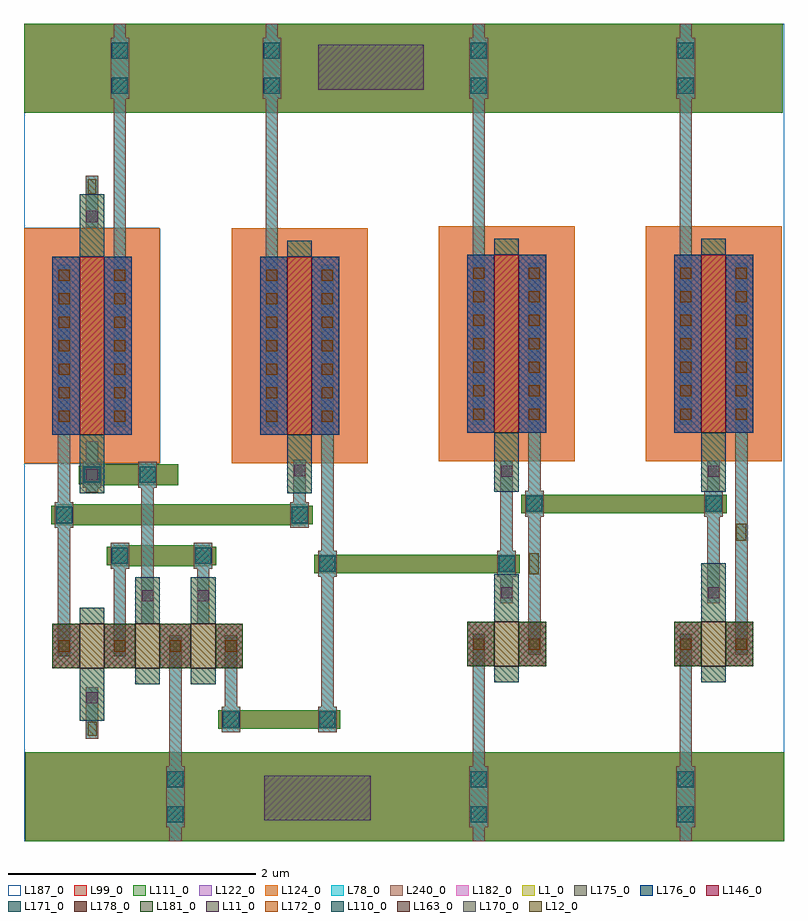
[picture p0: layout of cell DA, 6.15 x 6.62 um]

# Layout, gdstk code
import gdstk
lib = gdstk.Library(unit=1e-6, precision=1e-09)
def R(c, l, rs):  # rectangles x0, y0, x1, y1
    for r in rs: c.add(gdstk.rectangle(r[:2], r[2:], *l))
def A(c, l, x, y, w, h, nx, ny, dx, dy):  # array of equal rectangles
    R(c, l, [(x+i*dx, y+j*dy, x+i*dx+w, y+j*dy+h) for i in range(nx) for j in range(ny)])
def P(c, l, *ps):  # polygons
    for p in ps: c.add(gdstk.Polygon(p, *l))
L1_0 = (1, 0)
L11_0 = (11, 0)
L12_0 = (12, 0)
L78_0 = (78, 0)
L99_0 = (99, 0)
L110_0 = (110, 0)
L111_0 = (111, 0)
L122_0 = (122, 0)
L124_0 = (124, 0)
L146_0 = (146, 0)
L163_0 = (163, 0)
L170_0 = (170, 0)
L171_0 = (171, 0)
L172_0 = (172, 0)
L175_0 = (175, 0)
L176_0 = (176, 0)
L178_0 = (178, 0)
L181_0 = (181, 0)
L182_0 = (182, 0)
L187_0 = (187, 0)
L240_0 = (240, 0)

c_da = lib.new_cell('DA')
R(c_da, L1_0, [(1.905,-3.805,2.105,-2.89), (2.355,-3.51,2.555,-2.645), (2.805,-3.51,3.005,-2.645), (5.26,-3.495,5.46,-2.62), (6.935,-3.495,7.135,-2.53), (1.905,-1.965,2.105,0.455), (3.585,-1.965,3.785,0.08), (5.26,-1.95,5.46,0.095), (6.935,-1.95,7.135,0.095)])
R(c_da, L11_0, [(3.4,-4.61,4.26,-4.25), (3.835,1.3,4.69,1.665)])
R(c_da, L12_0, [(1.97,-3.925,2.045,-3.815), (5.545,-2.62,5.62,-2.45), (7.22,-2.35,7.3,-2.21), (1.97,0.46,2.04,0.575)])
R(c_da, L78_0, [(1.955,-3.95,2.055,-3.535), (7.21,-3.27,7.31,-0.1), (1.955,0.19,2.055,0.605)])
P(c_da, L78_0, [(2.98,-2.365),(2.98,-2.575),(2.955,-2.575),(2.955,-3.02),(2.855,-3.02),(2.855,-2.575),(2.83,-2.575),(2.83,-2.365)],
  [(2.305,-2.365),(2.305,-2.575),(2.28,-2.575),(2.28,-3.285),(2.18,-3.285),(2.18,-2.575),(2.155,-2.575),(2.155,-2.365)],
  [(3.18,-3.115),(3.18,-3.69),(3.205,-3.69),(3.205,-3.9),(3.055,-3.9),(3.055,-3.69),(3.08,-3.69),(3.08,-3.115)],
  [(1.83,-0.115),(1.83,-2.035),(1.855,-2.035),(1.855,-2.245),(1.83,-2.245),(1.83,-3.285),(1.73,-3.285),(1.73,-2.245),(1.705,-2.245),(1.705,-2.035),(1.73,-2.035),(1.73,-0.115)],
  [(2.73,-3.115),(2.73,-4.175),(2.755,-4.175),(2.755,-4.665),(2.73,-4.665),(2.73,-4.78),(2.63,-4.78),(2.63,-4.665),(2.605,-4.665),(2.605,-4.175),(2.63,-4.175),(2.63,-3.115)],
  [(2.28,1.835),(2.28,1.72),(2.305,1.72),(2.305,1.23),(2.28,1.23),(2.28,-1.425),(2.18,-1.425),(2.18,1.23),(2.155,1.23),(2.155,1.72),(2.18,1.72),(2.18,1.835)],
  [(2.53,-1.71),(2.53,-1.92),(2.505,-1.92),(2.505,-3.02),(2.405,-3.02),(2.405,-1.92),(2.38,-1.92),(2.38,-1.71)],
  [(2.055,-1.545),(2.055,-1.71),(2.08,-1.71),(2.08,-1.92),(2.055,-1.92),(2.055,-1.955),(1.955,-1.955),(1.955,-1.92),(1.93,-1.92),(1.93,-1.71),(1.955,-1.71),(1.955,-1.545)],
  [(3.96,-0.115),(3.96,-2.43),(3.985,-2.43),(3.985,-2.64),(3.96,-2.64),(3.96,-3.69),(3.985,-3.69),(3.985,-3.9),(3.835,-3.9),(3.835,-3.69),(3.86,-3.69),(3.86,-2.64),(3.835,-2.64),(3.835,-2.43),(3.86,-2.43),(3.86,-0.115)],
  [(3.735,-1.695),(3.735,-2.035),(3.76,-2.035),(3.76,-2.245),(3.61,-2.245),(3.61,-2.035),(3.635,-2.035),(3.635,-1.695)],
  [(5.185,-3.1),(5.185,-4.175),(5.21,-4.175),(5.21,-4.665),(5.185,-4.665),(5.185,-4.78),(5.085,-4.78),(5.085,-4.665),(5.06,-4.665),(5.06,-4.175),(5.085,-4.175),(5.085,-3.1)],
  [(3.51,1.835),(3.51,1.72),(3.535,1.72),(3.535,1.23),(3.51,1.23),(3.51,-1.425),(3.41,-1.425),(3.41,1.23),(3.385,1.23),(3.385,1.72),(3.41,1.72),(3.41,1.835)],
  [(5.185,1.835),(5.185,1.72),(5.21,1.72),(5.21,1.23),(5.185,1.23),(5.185,-1.41),(5.085,-1.41),(5.085,1.23),(5.06,1.23),(5.06,1.72),(5.085,1.72),(5.085,1.835)],
  [(5.41,-1.7),(5.41,-2.43),(5.435,-2.43),(5.435,-2.64),(5.41,-2.64),(5.41,-2.855),(5.31,-2.855),(5.31,-2.64),(5.285,-2.64),(5.285,-2.43),(5.31,-2.43),(5.31,-1.7)],
  [(7.085,-1.7),(7.085,-1.945),(7.11,-1.945),(7.11,-2.155),(7.085,-2.155),(7.085,-2.855),(6.985,-2.855),(6.985,-2.155),(6.96,-2.155),(6.96,-1.945),(6.985,-1.945),(6.985,-1.7)],
  [(5.635,-0.1),(5.635,-1.945),(5.66,-1.945),(5.66,-2.155),(5.635,-2.155),(5.635,-3.27),(5.535,-3.27),(5.535,-2.155),(5.51,-2.155),(5.51,-1.945),(5.535,-1.945),(5.535,-0.1)],
  [(6.86,-3.1),(6.86,-4.175),(6.885,-4.175),(6.885,-4.665),(6.86,-4.665),(6.86,-4.78),(6.76,-4.78),(6.76,-4.665),(6.735,-4.665),(6.735,-4.175),(6.76,-4.175),(6.76,-3.1)],
  [(6.86,1.835),(6.86,1.72),(6.885,1.72),(6.885,1.23),(6.86,1.23),(6.86,-1.41),(6.76,-1.41),(6.76,1.23),(6.735,1.23),(6.735,1.72),(6.76,1.72),(6.76,1.835)])
R(c_da, L99_0, [(1.465,-4.78,7.605,-4.06), (3.025,-3.87,4.015,-3.72), (3.805,-2.61,5.465,-2.46), (5.48,-2.125,7.14,-1.975), (1.455,1.115,7.595,1.835)])
P(c_da, L99_0, [(3.735,-2.055),(3.735,-2.065),(3.79,-2.065),(3.79,-2.215),(3.735,-2.215),(3.735,-2.225),(1.73,-2.225),(1.73,-2.215),(1.675,-2.215),(1.675,-2.065),(1.73,-2.065),(1.73,-2.055)],
  [(2.955,-2.385),(2.955,-2.395),(3.01,-2.395),(3.01,-2.545),(2.955,-2.545),(2.955,-2.555),(2.18,-2.555),(2.18,-2.545),(2.125,-2.545),(2.125,-2.395),(2.18,-2.395),(2.18,-2.385)],
  [(2.705,-1.73),(2.705,-1.9),(1.955,-1.9),(1.955,-1.89),(1.9,-1.89),(1.9,-1.74),(1.955,-1.74),(1.955,-1.73)])
A(c_da, L110_0, 3.395, 1.27, 0.13, 0.13, 3, 2, 1.675, 0.28)
R(c_da, L110_0, [(2.615,-4.625,2.745,-4.495), (5.07,-4.625,5.2,-4.495), (6.745,-4.625,6.875,-4.495), (2.615,-4.345,2.745,-4.215), (5.07,-4.345,5.2,-4.215), (6.745,-4.345,6.875,-4.215), (3.065,-3.86,3.195,-3.73), (3.845,-3.86,3.975,-3.73), (3.845,-2.6,3.975,-2.47), (5.295,-2.6,5.425,-2.47), (2.165,-2.535,2.295,-2.405), (2.84,-2.535,2.97,-2.405), (1.715,-2.205,1.845,-2.075), (3.62,-2.205,3.75,-2.075), (5.52,-2.115,5.65,-1.985), (6.97,-2.115,7.1,-1.985), (1.94,-1.88,2.07,-1.75), (2.39,-1.88,2.52,-1.75), (2.165,1.27,2.295,1.4), (2.165,1.55,2.295,1.68)])
R(c_da, L111_0, [(1.465,-4.78,7.605,-4.06), (3.025,-3.87,4.015,-3.72), (3.805,-2.61,5.465,-2.46), (5.48,-2.125,7.14,-1.975), (1.455,1.115,7.595,1.835)])
P(c_da, L111_0, [(3.735,-2.055),(3.735,-2.065),(3.79,-2.065),(3.79,-2.215),(3.735,-2.215),(3.735,-2.225),(1.73,-2.225),(1.73,-2.215),(1.675,-2.215),(1.675,-2.065),(1.73,-2.065),(1.73,-2.055)],
  [(2.955,-2.385),(2.955,-2.395),(3.01,-2.395),(3.01,-2.545),(2.955,-2.545),(2.955,-2.555),(2.18,-2.555),(2.18,-2.545),(2.125,-2.545),(2.125,-2.395),(2.18,-2.395),(2.18,-2.385)],
  [(2.705,-1.73),(2.705,-1.9),(1.955,-1.9),(1.955,-1.89),(1.9,-1.89),(1.9,-1.74),(1.955,-1.74),(1.955,-1.73)])
R(c_da, L122_0, [(1.455,-1.72,2.555,0.18), (3.135,-1.72,4.235,0.18), (4.81,-1.705,5.91,0.195), (6.485,-1.705,7.585,0.195)])
R(c_da, L124_0, [(1.455,-1.72,2.555,0.18), (3.135,-1.72,4.235,0.18), (4.81,-1.705,5.91,0.195), (6.485,-1.705,7.585,0.195)])
R(c_da, L146_0, [(1.905,-1.49,2.105,-0.05), (3.585,-1.49,3.785,-0.05), (5.26,-1.475,5.46,-0.035), (6.935,-1.475,7.135,-0.035)])
A(c_da, L163_0, 1.905, -3.38, 0.2, 0.36, 3, 1, 0.45, 0)
R(c_da, L163_0, [(5.26,-3.365,5.46,-3.005), (6.935,-3.365,7.135,-3.005)])
R(c_da, L170_0, [(1.96,-3.665,2.05,-3.575), (2.41,-2.84,2.5,-2.75), (2.86,-2.84,2.95,-2.75), (5.315,-2.815,5.405,-2.725), (6.99,-2.815,7.08,-2.725), (1.96,-1.86,2.05,-1.77), (5.315,-1.83,5.405,-1.74), (6.99,-1.83,7.08,-1.74), (3.64,-1.825,3.73,-1.735), (1.96,0.23,2.05,0.32)])
R(c_da, L171_0, [(1.905,-3.805,2.105,-3.38), (2.355,-3.51,2.555,-3.38), (2.805,-3.51,3.005,-3.38), (5.26,-3.495,5.46,-3.365), (6.935,-3.495,7.135,-3.365), (1.905,-3.02,2.105,-2.89), (2.355,-3.02,2.555,-2.645), (2.805,-3.02,3.005,-2.645), (5.26,-3.005,5.46,-2.62), (6.935,-3.005,7.135,-2.53), (1.905,-1.965,2.105,-1.49), (3.585,-1.965,3.785,-1.49), (5.26,-1.95,5.46,-1.475), (6.935,-1.95,7.135,-1.475), (1.905,-0.05,2.105,0.455), (3.585,-0.05,3.785,0.08), (5.26,-0.035,5.46,0.095), (6.935,-0.035,7.135,0.095)])
A(c_da, L172_0, 1.735, -3.245, 0.09, 0.09, 4, 1, 0.45, 0)
A(c_da, L172_0, 1.735, -1.385, 0.09, 0.09, 1, 7, 0, 0.19)
A(c_da, L172_0, 2.185, -1.385, 0.09, 0.09, 1, 7, 0, 0.19)
A(c_da, L172_0, 3.415, -1.385, 0.09, 0.09, 1, 7, 0, 0.19)
A(c_da, L172_0, 3.865, -1.385, 0.09, 0.09, 1, 7, 0, 0.19)
A(c_da, L172_0, 5.09, -1.37, 0.09, 0.09, 1, 7, 0, 0.19)
A(c_da, L172_0, 5.54, -1.37, 0.09, 0.09, 1, 7, 0, 0.19)
A(c_da, L172_0, 6.765, -1.37, 0.09, 0.09, 1, 7, 0, 0.19)
A(c_da, L172_0, 7.215, -1.37, 0.09, 0.09, 1, 7, 0, 0.19)
R(c_da, L172_0, [(5.09,-3.23,5.18,-3.14), (5.54,-3.23,5.63,-3.14), (6.765,-3.23,6.855,-3.14), (7.215,-3.23,7.305,-3.14)])
R(c_da, L175_0, [(1.685,-1.49,1.905,-0.05), (2.105,-1.49,2.325,-0.05), (3.365,-1.49,3.585,-0.05), (3.785,-1.49,4.005,-0.05), (5.04,-1.475,5.26,-0.035), (5.46,-1.475,5.68,-0.035), (6.715,-1.475,6.935,-0.035), (7.135,-1.475,7.355,-0.035)])
R(c_da, L176_0, [(1.685,-1.49,1.905,-0.05), (2.105,-1.49,2.325,-0.05), (3.365,-1.49,3.585,-0.05), (3.785,-1.49,4.005,-0.05), (5.04,-1.475,5.26,-0.035), (5.46,-1.475,5.68,-0.035), (6.715,-1.475,6.935,-0.035), (7.135,-1.475,7.355,-0.035)])
R(c_da, L178_0, [(1.685,-3.38,1.905,-3.02), (2.105,-3.38,2.355,-3.02), (2.555,-3.38,2.805,-3.02), (3.005,-3.38,3.225,-3.02), (5.04,-3.365,5.26,-3.005), (5.46,-3.365,5.68,-3.005), (6.715,-3.365,6.935,-3.005), (7.135,-3.365,7.355,-3.005)])
R(c_da, L181_0, [(1.685,-3.38,1.905,-3.02), (2.105,-3.38,2.355,-3.02), (2.555,-3.38,2.805,-3.02), (3.005,-3.38,3.225,-3.02), (5.04,-3.365,5.26,-3.005), (5.46,-3.365,5.68,-3.005), (6.715,-3.365,6.935,-3.005), (7.135,-3.365,7.355,-3.005)])
R(c_da, L182_0, [(1.685,-3.38,1.905,-3.02), (2.105,-3.38,2.355,-3.02), (2.555,-3.38,2.805,-3.02), (3.005,-3.38,3.225,-3.02), (5.04,-3.365,5.26,-3.005), (5.46,-3.365,5.68,-3.005), (6.715,-3.365,6.935,-3.005), (7.135,-3.365,7.355,-3.005), (1.685,-1.49,1.905,-0.05), (2.105,-1.49,2.325,-0.05), (3.365,-1.49,3.585,-0.05), (3.785,-1.49,4.005,-0.05), (5.04,-1.475,5.26,-0.035), (5.46,-1.475,5.68,-0.035), (6.715,-1.475,6.935,-0.035), (7.135,-1.475,7.355,-0.035)])
P(c_da, L187_0, [(7.605,1.835),(7.605,-4.78),(1.455,-4.78),(1.455,-1.72),(2.555,-1.72),(2.555,0.18),(1.455,0.18),(1.455,1.835)])
R(c_da, L240_0, [(1.955,-3.95,2.055,-3.535), (7.21,-3.27,7.31,-0.1), (1.955,0.19,2.055,0.605)])
P(c_da, L240_0, [(2.98,-2.365),(2.98,-2.575),(2.955,-2.575),(2.955,-3.02),(2.855,-3.02),(2.855,-2.575),(2.83,-2.575),(2.83,-2.365)],
  [(2.305,-2.365),(2.305,-2.575),(2.28,-2.575),(2.28,-3.285),(2.18,-3.285),(2.18,-2.575),(2.155,-2.575),(2.155,-2.365)],
  [(3.18,-3.115),(3.18,-3.69),(3.205,-3.69),(3.205,-3.9),(3.055,-3.9),(3.055,-3.69),(3.08,-3.69),(3.08,-3.115)],
  [(1.83,-0.115),(1.83,-2.035),(1.855,-2.035),(1.855,-2.245),(1.83,-2.245),(1.83,-3.285),(1.73,-3.285),(1.73,-2.245),(1.705,-2.245),(1.705,-2.035),(1.73,-2.035),(1.73,-0.115)],
  [(2.73,-3.115),(2.73,-4.175),(2.755,-4.175),(2.755,-4.665),(2.73,-4.665),(2.73,-4.78),(2.63,-4.78),(2.63,-4.665),(2.605,-4.665),(2.605,-4.175),(2.63,-4.175),(2.63,-3.115)],
  [(2.28,1.835),(2.28,1.72),(2.305,1.72),(2.305,1.23),(2.28,1.23),(2.28,-1.425),(2.18,-1.425),(2.18,1.23),(2.155,1.23),(2.155,1.72),(2.18,1.72),(2.18,1.835)],
  [(2.53,-1.71),(2.53,-1.92),(2.505,-1.92),(2.505,-3.02),(2.405,-3.02),(2.405,-1.92),(2.38,-1.92),(2.38,-1.71)],
  [(2.055,-1.545),(2.055,-1.71),(2.08,-1.71),(2.08,-1.92),(2.055,-1.92),(2.055,-1.955),(1.955,-1.955),(1.955,-1.92),(1.93,-1.92),(1.93,-1.71),(1.955,-1.71),(1.955,-1.545)],
  [(3.96,-0.115),(3.96,-2.43),(3.985,-2.43),(3.985,-2.64),(3.96,-2.64),(3.96,-3.69),(3.985,-3.69),(3.985,-3.9),(3.835,-3.9),(3.835,-3.69),(3.86,-3.69),(3.86,-2.64),(3.835,-2.64),(3.835,-2.43),(3.86,-2.43),(3.86,-0.115)],
  [(3.735,-1.695),(3.735,-2.035),(3.76,-2.035),(3.76,-2.245),(3.61,-2.245),(3.61,-2.035),(3.635,-2.035),(3.635,-1.695)],
  [(5.185,-3.1),(5.185,-4.175),(5.21,-4.175),(5.21,-4.665),(5.185,-4.665),(5.185,-4.78),(5.085,-4.78),(5.085,-4.665),(5.06,-4.665),(5.06,-4.175),(5.085,-4.175),(5.085,-3.1)],
  [(3.51,1.835),(3.51,1.72),(3.535,1.72),(3.535,1.23),(3.51,1.23),(3.51,-1.425),(3.41,-1.425),(3.41,1.23),(3.385,1.23),(3.385,1.72),(3.41,1.72),(3.41,1.835)],
  [(5.185,1.835),(5.185,1.72),(5.21,1.72),(5.21,1.23),(5.185,1.23),(5.185,-1.41),(5.085,-1.41),(5.085,1.23),(5.06,1.23),(5.06,1.72),(5.085,1.72),(5.085,1.835)],
  [(5.41,-1.7),(5.41,-2.43),(5.435,-2.43),(5.435,-2.64),(5.41,-2.64),(5.41,-2.855),(5.31,-2.855),(5.31,-2.64),(5.285,-2.64),(5.285,-2.43),(5.31,-2.43),(5.31,-1.7)],
  [(7.085,-1.7),(7.085,-1.945),(7.11,-1.945),(7.11,-2.155),(7.085,-2.155),(7.085,-2.855),(6.985,-2.855),(6.985,-2.155),(6.96,-2.155),(6.96,-1.945),(6.985,-1.945),(6.985,-1.7)],
  [(5.635,-0.1),(5.635,-1.945),(5.66,-1.945),(5.66,-2.155),(5.635,-2.155),(5.635,-3.27),(5.535,-3.27),(5.535,-2.155),(5.51,-2.155),(5.51,-1.945),(5.535,-1.945),(5.535,-0.1)],
  [(6.86,-3.1),(6.86,-4.175),(6.885,-4.175),(6.885,-4.665),(6.86,-4.665),(6.86,-4.78),(6.76,-4.78),(6.76,-4.665),(6.735,-4.665),(6.735,-4.175),(6.76,-4.175),(6.76,-3.1)],
  [(6.86,1.835),(6.86,1.72),(6.885,1.72),(6.885,1.23),(6.86,1.23),(6.86,-1.41),(6.76,-1.41),(6.76,1.23),(6.735,1.23),(6.735,1.72),(6.76,1.72),(6.76,1.835)])

lib.write_gds('DA.gds')
